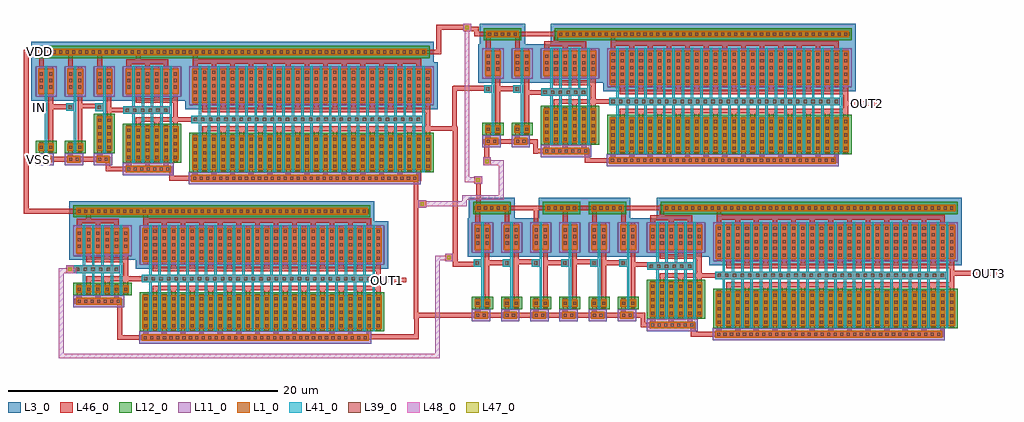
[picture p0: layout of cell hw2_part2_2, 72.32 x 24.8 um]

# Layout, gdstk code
from math import pi, radians
import gdstk
lib = gdstk.Library(unit=1e-6, precision=1e-09)
def R(c, l, rs):  # rectangles x0, y0, x1, y1
    for r in rs: c.add(gdstk.rectangle(r[:2], r[2:], *l))
def A(c, l, x, y, w, h, nx, ny, dx, dy):  # array of equal rectangles
    R(c, l, [(x+i*dx, y+j*dy, x+i*dx+w, y+j*dy+h) for i in range(nx) for j in range(ny)])
L1_0 = (1, 0)
L3_0 = (3, 0)
L11_0 = (11, 0)
L12_0 = (12, 0)
L39_0 = (39, 0)
L41_0 = (41, 0)
L46_0 = (46, 0)
L47_0 = (47, 0)
L48_0 = (48, 0)

via1 = lib.new_cell('VIA1')
R(via1, L46_0, [(-0.295,-0.295,0.275,0.275)])
R(via1, L47_0, [(-0.135,-0.135,0.115,0.115)])
R(via1, L48_0, [(-0.295,-0.295,0.275,0.275)])

nmos_body = lib.new_cell('nmos_body')
R(nmos_body, L1_0, [(-0.22,-0.185,0.26,0.315)])
R(nmos_body, L11_0, [(-0.42,-0.385,0.46,0.515)])
R(nmos_body, L39_0, [(-0.095,-0.05,0.135,0.18)])
R(nmos_body, L46_0, [(-0.348,-0.11,0.332,0.24)])

pmos_body = lib.new_cell('pmos_body')
R(pmos_body, L1_0, [(-0.305,-0.355,0.175,0.145)])
R(pmos_body, L3_0, [(-0.805,-0.855,0.675,0.645)])
R(pmos_body, L12_0, [(-0.505,-0.555,0.375,0.345)])
R(pmos_body, L39_0, [(-0.18,-0.22,0.05,0.01)])
R(pmos_body, L46_0, [(-0.433,-0.28,0.247,0.07)])

mental1_connect = lib.new_cell('mental1_connect')
R(mental1_connect, L46_0, [(0.875,-0.297,1.225,0.108), (-0.505,-0.292,-0.155,0.108), (-0.505,0.108,1.225,0.458)])

cont = lib.new_cell('CONT')
R(cont, L39_0, [(-0.12,-0.12,0.11,0.11)])
R(cont, L41_0, [(-0.29,-0.29,0.28,0.28)])
R(cont, L46_0, [(-0.29,-0.29,0.28,0.28)])

pmos_small = lib.new_cell('pmos_small')
R(pmos_small, L1_0, [(-0.57,-0.225,0.59,0.275)])
R(pmos_small, L3_0, [(-1.07,-0.725,1.09,0.775)])
R(pmos_small, L11_0, [(-0.77,-0.425,0.79,0.475)])
R(pmos_small, L39_0, [(-0.45,-0.075,-0.22,0.155), (0.24,-0.075,0.47,0.155)])
R(pmos_small, L41_0, [(-0.08,-1.49,0.1,0.475)])
R(pmos_small, L46_0, [(-0.51,-0.347,-0.16,0.428), (0.18,-0.342,0.53,0.423)])

pmos_1850n = lib.new_cell('pmos_1850n')
R(pmos_1850n, L1_0, [(-0.569,-0.995,0.591,0.855)])
R(pmos_1850n, L3_0, [(-1.069,-1.495,1.091,1.355)])
R(pmos_1850n, L11_0, [(-0.769,-1.215,0.791,1.055)])
A(pmos_1850n, L39_0, -0.449, -0.6, 0.23, 0.23, 1, 3, 0, 0.48)
A(pmos_1850n, L39_0, 0.241, -0.6, 0.23, 0.23, 1, 3, 0, 0.48)
R(pmos_1850n, L41_0, [(-0.079,-2.195,0.101,1.055)])
R(pmos_1850n, L46_0, [(-0.509,-1.08,-0.159,0.975), (0.181,-1.08,0.531,0.965)])

nmos_small = lib.new_cell('nmos_small')
R(nmos_small, L1_0, [(-3.8,0.175,-2.64,0.675)])
R(nmos_small, L12_0, [(-4,-0.045,-2.44,0.875)])
R(nmos_small, L39_0, [(-3.68,0.325,-3.45,0.555), (-2.99,0.325,-2.76,0.555)])
R(nmos_small, L41_0, [(-3.31,-1.025,-3.13,0.875)])
R(nmos_small, L46_0, [(-3.74,0.073,-3.39,0.808), (-3.05,0.073,-2.7,0.808)])

hw2_part2_2 = lib.new_cell('hw2_part2_2')
hw2_part2_2.add(gdstk.FlexPath([(-3.72,-11.995),(-3.72,-11.595)], 0.18, ends="flush", simple_path=True, layer=41, datatype=0))  # L41_0
hw2_part2_2.add(gdstk.FlexPath([(-11.58,0.895),(-11.58,1.295)], 0.18, ends="flush", simple_path=True, layer=41, datatype=0))  # L41_0
hw2_part2_2.add(gdstk.FlexPath([(-46.215,-12.235),(-46.215,-11.835)], 0.18, ends="flush", simple_path=True, layer=41, datatype=0))  # L41_0
hw2_part2_2.add(gdstk.FlexPath([(-10.8,-13.26),(-10.8,-11.68)], 0.18, ends="flush", simple_path=True, layer=41, datatype=0))  # L41_0
hw2_part2_2.add(gdstk.FlexPath([(-8.64,-13.26),(-8.64,-11.68)], 0.18, ends="flush", simple_path=True, layer=41, datatype=0))  # L41_0
hw2_part2_2.add(gdstk.FlexPath([(-17.28,-13.26),(-17.28,-11.68)], 0.18, ends="flush", simple_path=True, layer=41, datatype=0))  # L41_0
hw2_part2_2.add(gdstk.FlexPath([(-19.44,-13.26),(-19.44,-11.68)], 0.18, ends="flush", simple_path=True, layer=41, datatype=0))  # L41_0
hw2_part2_2.add(gdstk.FlexPath([(-16.5,-0.37),(-16.5,1.21)], 0.18, ends="flush", simple_path=True, layer=41, datatype=0))  # L41_0
hw2_part2_2.add(gdstk.FlexPath([(-18.66,-0.37),(-18.66,1.21)], 0.18, ends="flush", simple_path=True, layer=41, datatype=0))  # L41_0
hw2_part2_2.add(gdstk.FlexPath([(-12.96,-13.26),(-12.96,-11.68)], 0.18, ends="flush", simple_path=True, layer=41, datatype=0))  # L41_0
hw2_part2_2.add(gdstk.FlexPath([(-15.12,-13.26),(-15.12,-11.68)], 0.18, ends="flush", simple_path=True, layer=41, datatype=0))  # L41_0
hw2_part2_2.add(gdstk.FlexPath([(-49.62,-1.7),(-49.62,-0.12)], 0.18, ends="flush", simple_path=True, layer=41, datatype=0))  # L41_0
hw2_part2_2.add(gdstk.FlexPath([(-51.78,-1.7),(-51.78,-0.12)], 0.18, ends="flush", simple_path=True, layer=41, datatype=0))  # L41_0
hw2_part2_2.add(gdstk.FlexPath([(-42.54,-0.435),(-42.54,-0.035)], 0.18, ends="flush", simple_path=True, layer=41, datatype=0))  # L41_0
hw2_part2_2.add(gdstk.FlexPath([(-46.315,-14.319),(-46.315,-17.104),(-44.525,-17.104)], 0.35, ends="flush", simple_path=True, layer=46, datatype=0))  # L46_0
hw2_part2_2.add(gdstk.FlexPath([(-24.33,-15.455),(-24.33,-17.04),(-27.76,-17.04)], 0.35, ends="flush", simple_path=True, layer=46, datatype=0))  # L46_0
hw2_part2_2.add(gdstk.FlexPath([(-20.38,5.765),(-19.885,5.765),(-19.885,5.385),(-19.185,5.385)], 0.35, ends="flush", simple_path=True, layer=46, datatype=0))  # L46_0
hw2_part2_2.add(gdstk.FlexPath([(-8.34,-15.455),(-7.555,-15.455),(-7.555,-16.335)], 0.35, ends="flush", simple_path=True, layer=46, datatype=0))  # L46_0
hw2_part2_2.add(gdstk.FlexPath([(-21.505,-1.585),(-21.505,1.52)], 0.35, ends="flush", simple_path=True, layer=46, datatype=0))  # L46_0
hw2_part2_2.add(gdstk.FlexPath([(-23.515,-1.61),(-21.315,-1.61)], 0.35, ends="flush", simple_path=True, layer=46, datatype=0))  # L46_0
hw2_part2_2.add(gdstk.FlexPath([(-53.395,-7.745),(-52.27,-7.745)], 0.35, ends="flush", simple_path=True, layer=46, datatype=0))  # L46_0
hw2_part2_2.add(gdstk.FlexPath([(-53.24,-7.92),(-53.24,4.235)], 0.35, ends="flush", simple_path=True, layer=46, datatype=0))  # L46_0
hw2_part2_2.add(gdstk.FlexPath([(-52.6,-7.745),(-49.21,-7.745)], 0.35, ends="flush", simple_path=True, layer=46, datatype=0))  # L46_0
hw2_part2_2.add(gdstk.FlexPath([(-53.39,4.055),(-52.03,4.055)], 0.35, ends="flush", simple_path=True, layer=46, datatype=0))  # L46_0
hw2_part2_2.add(gdstk.FlexPath([(-15.69,-3.282),(-14.765,-3.282)], 0.35, ends="flush", simple_path=True, layer=46, datatype=0))  # L46_0
hw2_part2_2.add(gdstk.FlexPath([(-16.925,5.385),(-13.855,5.385)], 0.35, ends="flush", simple_path=True, layer=46, datatype=0))  # L46_0
hw2_part2_2.add(gdstk.FlexPath([(-8.655,-7.505),(-6.865,-7.505)], 0.35, ends="flush", simple_path=True, layer=46, datatype=0))  # L46_0
hw2_part2_2.add(gdstk.FlexPath([(-19.73,-7.5),(-19.73,-5.65)], 0.35, ends="flush", simple_path=True, layer=46, datatype=0))  # L46_0
hw2_part2_2.add(gdstk.FlexPath([(-22.85,5.89),(-20.675,5.89)], 0.35, ends="flush", simple_path=True, layer=46, datatype=0))  # L46_0
hw2_part2_2.add(gdstk.FlexPath([(-7.725,-16.172),(-6.96,-16.172)], 0.35, ends="flush", simple_path=True, layer=46, datatype=0))  # L46_0
hw2_part2_2.add(gdstk.FlexPath([(-12.82,-15.455),(-11.36,-15.455)], 0.35, ends="flush", simple_path=True, layer=46, datatype=0))  # L46_0
hw2_part2_2.add(gdstk.FlexPath([(-16.93,-15.455),(-15.49,-15.455)], 0.35, ends="flush", simple_path=True, layer=46, datatype=0))  # L46_0
hw2_part2_2.add(gdstk.FlexPath([(-24.535,-15.455),(-19.71,-15.455)], 0.35, ends="flush", simple_path=True, layer=46, datatype=0))  # L46_0
hw2_part2_2.add(gdstk.FlexPath([(-24.36,-15.7),(-24.36,-5.365)], 0.35, ends="flush", simple_path=True, layer=46, datatype=0))  # L46_0
hw2_part2_2.add(gdstk.FlexPath([(-6.965,-7.505),(-6.225,-7.505)], 0.35, ends="flush", simple_path=True, layer=46, datatype=0))  # L46_0
hw2_part2_2.add(gdstk.FlexPath([(-17.808,-7.505),(-8.458,-7.505)], 0.35, ends="flush", simple_path=True, layer=46, datatype=0))  # L46_0
hw2_part2_2.add(gdstk.FlexPath([(-27.16,-12.84),(-25.095,-12.84)], 0.35, ends="flush", simple_path=True, layer=46, datatype=0))  # L46_0
hw2_part2_2.add(gdstk.FlexPath([(-21.46,-1.515),(-21.46,-11.675),(-20.015,-11.675)], 0.35, ends="flush", simple_path=True, layer=46, datatype=0))  # L46_0
hw2_part2_2.add(gdstk.FlexPath([(-16.14,-2.565),(-15.505,-2.565),(-15.505,-3.495)], 0.35, ends="flush", simple_path=True, layer=46, datatype=0))  # L46_0
hw2_part2_2.add(gdstk.FlexPath([(-25.005,4.063),(-22.675,4.063),(-22.675,5.978)], 0.35, ends="flush", simple_path=True, layer=46, datatype=0))  # L46_0
hw2_part2_2.add(gdstk.FlexPath([(-3.82,-16.079),(-3.82,-16.864),(-2.03,-16.864)], 0.35, ends="flush", simple_path=True, layer=46, datatype=0))  # L46_0
hw2_part2_2.add(gdstk.FlexPath([(-11.68,-3.189),(-11.68,-3.974),(-9.89,-3.974)], 0.35, ends="flush", simple_path=True, layer=46, datatype=0))  # L46_0
hw2_part2_2.add(gdstk.FlexPath([(15.275,-12.34),(18.91,-12.34)], 0.35, ends="flush", simple_path=True, layer=46, datatype=0))  # L46_0
hw2_part2_2.add(gdstk.FlexPath([(-8.335,-11.695),(-6.87,-11.695)], 0.35, ends="flush", simple_path=True, layer=46, datatype=0))  # L46_0
hw2_part2_2.add(gdstk.FlexPath([(-12.7,-11.48),(-11.24,-11.48)], 0.35, ends="flush", simple_path=True, layer=46, datatype=0))  # L46_0
hw2_part2_2.add(gdstk.FlexPath([(-16.275,1.065),(-14.595,1.065)], 0.35, ends="flush", simple_path=True, layer=46, datatype=0))  # L46_0
hw2_part2_2.add(gdstk.FlexPath([(-21.565,1.37),(-19.05,1.37)], 0.35, ends="flush", simple_path=True, layer=46, datatype=0))  # L46_0
hw2_part2_2.add(gdstk.FlexPath([(-17.045,-11.48),(-15.7,-11.48)], 0.35, ends="flush", simple_path=True, layer=46, datatype=0))  # L46_0
hw2_part2_2.add(gdstk.FlexPath([(15.345,-13.102),(15.345,-11.852)], 0.35, ends="flush", simple_path=True, layer=46, datatype=0))  # L46_0
hw2_part2_2.add(gdstk.FlexPath([(-3.375,-13.005),(-3.375,-10.595)], 0.35, ends="flush", simple_path=True, layer=46, datatype=0))  # L46_0
hw2_part2_2.add(gdstk.FlexPath([(-6.135,-8.395),(-6.135,-7.257)], 0.35, ends="flush", simple_path=True, layer=46, datatype=0))  # L46_0
hw2_part2_2.add(gdstk.FlexPath([(-1.905,-8.395),(-1.905,-7.257)], 0.35, ends="flush", simple_path=True, layer=46, datatype=0))  # L46_0
hw2_part2_2.add(gdstk.FlexPath([(-3.39,-12.505),(-1.74,-12.505)], 0.35, ends="flush", simple_path=True, layer=46, datatype=0))  # L46_0
hw2_part2_2.add(gdstk.FlexPath([(-45.885,-12.745),(-44.235,-12.745)], 0.35, ends="flush", simple_path=True, layer=46, datatype=0))  # L46_0
hw2_part2_2.add(gdstk.FlexPath([(-44.4,-8.635),(-44.4,-7.497)], 0.35, ends="flush", simple_path=True, layer=46, datatype=0))  # L46_0
hw2_part2_2.add(gdstk.FlexPath([(-48.63,-8.635),(-48.63,-7.497)], 0.35, ends="flush", simple_path=True, layer=46, datatype=0))  # L46_0
hw2_part2_2.add(gdstk.FlexPath([(-9.765,4.495),(-9.765,5.633)], 0.35, ends="flush", simple_path=True, layer=46, datatype=0))  # L46_0
hw2_part2_2.add(gdstk.FlexPath([(-11.25,0.385),(-9.6,0.385)], 0.35, ends="flush", simple_path=True, layer=46, datatype=0))  # L46_0
hw2_part2_2.add(gdstk.FlexPath([(-45.87,-13.245),(-45.87,-10.835)], 0.35, ends="flush", simple_path=True, layer=46, datatype=0))  # L46_0
hw2_part2_2.add(gdstk.FlexPath([(-11.235,-0.115),(-11.235,2.295)], 0.35, ends="flush", simple_path=True, layer=46, datatype=0))  # L46_0
hw2_part2_2.add(gdstk.FlexPath([(-13.995,4.495),(-13.995,5.633)], 0.35, ends="flush", simple_path=True, layer=46, datatype=0))  # L46_0
hw2_part2_2.add(gdstk.FlexPath([(7.485,-0.212),(7.485,1.038)], 0.35, ends="flush", simple_path=True, layer=46, datatype=0))  # L46_0
hw2_part2_2.add(gdstk.FlexPath([(-10.455,-12.34),(-10.455,-10.575)], 0.35, ends="flush", simple_path=True, layer=46, datatype=0))  # L46_0
hw2_part2_2.add(gdstk.FlexPath([(-8.295,-12.34),(-8.295,-10.575)], 0.35, ends="flush", simple_path=True, layer=46, datatype=0))  # L46_0
hw2_part2_2.add(gdstk.FlexPath([(-10.475,-11.555),(-9.13,-11.555)], 0.35, ends="flush", simple_path=True, layer=46, datatype=0))  # L46_0
hw2_part2_2.add(gdstk.FlexPath([(-11.145,-15.635),(-11.145,-14.79)], 0.35, ends="flush", simple_path=True, layer=46, datatype=0))  # L46_0
hw2_part2_2.add(gdstk.FlexPath([(-8.985,-15.635),(-8.985,-14.79)], 0.35, ends="flush", simple_path=True, layer=46, datatype=0))  # L46_0
hw2_part2_2.add(gdstk.FlexPath([(-10.455,-15.455),(-9.235,-15.455)], 0.35, ends="flush", simple_path=True, layer=46, datatype=0))  # L46_0
hw2_part2_2.add(gdstk.FlexPath([(-10.455,-13.795),(-10.455,-12.03)], 0.35, ends="flush", simple_path=True, layer=46, datatype=0))  # L46_0
hw2_part2_2.add(gdstk.FlexPath([(-10.455,-14.34),(-10.455,-12.575)], 0.35, ends="flush", simple_path=True, layer=46, datatype=0))  # L46_0
hw2_part2_2.add(gdstk.FlexPath([(-8.295,-13.223),(-8.295,-11.458)], 0.35, ends="flush", simple_path=True, layer=46, datatype=0))  # L46_0
hw2_part2_2.add(gdstk.FlexPath([(-8.295,-14.293),(-8.295,-12.528)], 0.35, ends="flush", simple_path=True, layer=46, datatype=0))  # L46_0
hw2_part2_2.add(gdstk.FlexPath([(-11.145,-8.745),(-11.145,-7.575)], 0.35, ends="flush", simple_path=True, layer=46, datatype=0))  # L46_0
hw2_part2_2.add(gdstk.FlexPath([(-8.985,-8.745),(-8.985,-7.575)], 0.35, ends="flush", simple_path=True, layer=46, datatype=0))  # L46_0
hw2_part2_2.add(gdstk.FlexPath([(-17.625,-8.745),(-17.625,-7.575)], 0.35, ends="flush", simple_path=True, layer=46, datatype=0))  # L46_0
hw2_part2_2.add(gdstk.FlexPath([(-19.785,-8.745),(-19.785,-7.575)], 0.35, ends="flush", simple_path=True, layer=46, datatype=0))  # L46_0
hw2_part2_2.add(gdstk.FlexPath([(-16.935,-14.293),(-16.935,-12.528)], 0.35, ends="flush", simple_path=True, layer=46, datatype=0))  # L46_0
hw2_part2_2.add(gdstk.FlexPath([(-16.935,-13.223),(-16.935,-11.458)], 0.35, ends="flush", simple_path=True, layer=46, datatype=0))  # L46_0
hw2_part2_2.add(gdstk.FlexPath([(-19.095,-14.34),(-19.095,-12.575)], 0.35, ends="flush", simple_path=True, layer=46, datatype=0))  # L46_0
hw2_part2_2.add(gdstk.FlexPath([(-19.095,-13.795),(-19.095,-12.03)], 0.35, ends="flush", simple_path=True, layer=46, datatype=0))  # L46_0
hw2_part2_2.add(gdstk.FlexPath([(-19.095,-15.455),(-17.875,-15.455)], 0.35, ends="flush", simple_path=True, layer=46, datatype=0))  # L46_0
hw2_part2_2.add(gdstk.FlexPath([(-17.625,-15.635),(-17.625,-14.79)], 0.35, ends="flush", simple_path=True, layer=46, datatype=0))  # L46_0
hw2_part2_2.add(gdstk.FlexPath([(-19.785,-15.635),(-19.785,-14.79)], 0.35, ends="flush", simple_path=True, layer=46, datatype=0))  # L46_0
hw2_part2_2.add(gdstk.FlexPath([(-19.115,-11.555),(-17.77,-11.555)], 0.35, ends="flush", simple_path=True, layer=46, datatype=0))  # L46_0
hw2_part2_2.add(gdstk.FlexPath([(-16.935,-12.34),(-16.935,-10.575)], 0.35, ends="flush", simple_path=True, layer=46, datatype=0))  # L46_0
hw2_part2_2.add(gdstk.FlexPath([(-19.095,-12.34),(-19.095,-10.575)], 0.35, ends="flush", simple_path=True, layer=46, datatype=0))  # L46_0
hw2_part2_2.add(gdstk.FlexPath([(-16.845,4.145),(-16.845,5.315)], 0.35, ends="flush", simple_path=True, layer=46, datatype=0))  # L46_0
hw2_part2_2.add(gdstk.FlexPath([(-19.005,4.145),(-19.005,5.315)], 0.35, ends="flush", simple_path=True, layer=46, datatype=0))  # L46_0
hw2_part2_2.add(gdstk.FlexPath([(-16.155,-1.403),(-16.155,0.362)], 0.35, ends="flush", simple_path=True, layer=46, datatype=0))  # L46_0
hw2_part2_2.add(gdstk.FlexPath([(-16.155,-0.333),(-16.155,1.432)], 0.35, ends="flush", simple_path=True, layer=46, datatype=0))  # L46_0
hw2_part2_2.add(gdstk.FlexPath([(-18.315,-1.45),(-18.315,0.315)], 0.35, ends="flush", simple_path=True, layer=46, datatype=0))  # L46_0
hw2_part2_2.add(gdstk.FlexPath([(-18.315,-0.905),(-18.315,0.86)], 0.35, ends="flush", simple_path=True, layer=46, datatype=0))  # L46_0
hw2_part2_2.add(gdstk.FlexPath([(-18.315,-2.565),(-17.095,-2.565)], 0.35, ends="flush", simple_path=True, layer=46, datatype=0))  # L46_0
hw2_part2_2.add(gdstk.FlexPath([(-16.845,-2.745),(-16.845,-1.9)], 0.35, ends="flush", simple_path=True, layer=46, datatype=0))  # L46_0
hw2_part2_2.add(gdstk.FlexPath([(-19.005,-2.745),(-19.005,-1.9)], 0.35, ends="flush", simple_path=True, layer=46, datatype=0))  # L46_0
hw2_part2_2.add(gdstk.FlexPath([(-18.335,1.335),(-16.99,1.335)], 0.35, ends="flush", simple_path=True, layer=46, datatype=0))  # L46_0
hw2_part2_2.add(gdstk.FlexPath([(-16.155,0.55),(-16.155,2.315)], 0.35, ends="flush", simple_path=True, layer=46, datatype=0))  # L46_0
hw2_part2_2.add(gdstk.FlexPath([(-18.315,0.55),(-18.315,2.315)], 0.35, ends="flush", simple_path=True, layer=46, datatype=0))  # L46_0
hw2_part2_2.add(gdstk.FlexPath([(-13.305,-8.745),(-13.305,-7.575)], 0.35, ends="flush", simple_path=True, layer=46, datatype=0))  # L46_0
hw2_part2_2.add(gdstk.FlexPath([(-15.465,-8.745),(-15.465,-7.575)], 0.35, ends="flush", simple_path=True, layer=46, datatype=0))  # L46_0
hw2_part2_2.add(gdstk.FlexPath([(-12.615,-14.293),(-12.615,-12.528)], 0.35, ends="flush", simple_path=True, layer=46, datatype=0))  # L46_0
hw2_part2_2.add(gdstk.FlexPath([(-12.615,-13.223),(-12.615,-11.458)], 0.35, ends="flush", simple_path=True, layer=46, datatype=0))  # L46_0
hw2_part2_2.add(gdstk.FlexPath([(-14.775,-14.34),(-14.775,-12.575)], 0.35, ends="flush", simple_path=True, layer=46, datatype=0))  # L46_0
hw2_part2_2.add(gdstk.FlexPath([(-14.775,-13.795),(-14.775,-12.03)], 0.35, ends="flush", simple_path=True, layer=46, datatype=0))  # L46_0
hw2_part2_2.add(gdstk.FlexPath([(-14.775,-15.455),(-13.555,-15.455)], 0.35, ends="flush", simple_path=True, layer=46, datatype=0))  # L46_0
hw2_part2_2.add(gdstk.FlexPath([(-13.305,-15.635),(-13.305,-14.79)], 0.35, ends="flush", simple_path=True, layer=46, datatype=0))  # L46_0
hw2_part2_2.add(gdstk.FlexPath([(-15.465,-15.635),(-15.465,-14.79)], 0.35, ends="flush", simple_path=True, layer=46, datatype=0))  # L46_0
hw2_part2_2.add(gdstk.FlexPath([(-14.795,-11.555),(-13.45,-11.555)], 0.35, ends="flush", simple_path=True, layer=46, datatype=0))  # L46_0
hw2_part2_2.add(gdstk.FlexPath([(-12.615,-12.34),(-12.615,-10.575)], 0.35, ends="flush", simple_path=True, layer=46, datatype=0))  # L46_0
hw2_part2_2.add(gdstk.FlexPath([(-14.775,-12.34),(-14.775,-10.575)], 0.35, ends="flush", simple_path=True, layer=46, datatype=0))  # L46_0
hw2_part2_2.add(gdstk.FlexPath([(-19.12,-4.1),(-19.12,-2.615)], 0.35, ends="flush", simple_path=True, layer=46, datatype=0))  # L46_0
hw2_part2_2.add(gdstk.FlexPath([(7.485,0.25),(9.83,0.25)], 0.35, ends="flush", simple_path=True, layer=46, datatype=0))  # L46_0
hw2_part2_2.add(gdstk.FlexPath([(-49.275,-2.733),(-49.275,-0.968)], 0.35, ends="flush", simple_path=True, layer=46, datatype=0))  # L46_0
hw2_part2_2.add(gdstk.FlexPath([(-49.275,-1.663),(-49.275,0.102)], 0.35, ends="flush", simple_path=True, layer=46, datatype=0))  # L46_0
hw2_part2_2.add(gdstk.FlexPath([(-51.435,-2.78),(-51.435,-1.015)], 0.35, ends="flush", simple_path=True, layer=46, datatype=0))  # L46_0
hw2_part2_2.add(gdstk.FlexPath([(-51.435,-2.235),(-51.435,-0.47)], 0.35, ends="flush", simple_path=True, layer=46, datatype=0))  # L46_0
hw2_part2_2.add(gdstk.FlexPath([(-42.433,-5.304),(-40.818,-5.304)], 0.35, ends="flush", simple_path=True, layer=46, datatype=0))  # L46_0
hw2_part2_2.add(gdstk.FlexPath([(-42.485,-5.479),(-42.485,-4.446)], 0.35, ends="flush", simple_path=True, layer=46, datatype=0))  # L46_0
hw2_part2_2.add(gdstk.FlexPath([(-47.29,-4.612),(-45.8,-4.612)], 0.35, ends="flush", simple_path=True, layer=46, datatype=0))  # L46_0
hw2_part2_2.add(gdstk.FlexPath([(-47.183,-4.787),(-47.183,-3.72)], 0.35, ends="flush", simple_path=True, layer=46, datatype=0))  # L46_0
hw2_part2_2.add(gdstk.FlexPath([(-49.295,-3.895),(-48.085,-3.895)], 0.35, ends="flush", simple_path=True, layer=46, datatype=0))  # L46_0
hw2_part2_2.add(gdstk.FlexPath([(-51.435,-3.895),(-50.215,-3.895)], 0.35, ends="flush", simple_path=True, layer=46, datatype=0))  # L46_0
hw2_part2_2.add(gdstk.FlexPath([(-47.805,-4.075),(-47.805,-3.23)], 0.35, ends="flush", simple_path=True, layer=46, datatype=0))  # L46_0
hw2_part2_2.add(gdstk.FlexPath([(-49.965,-4.075),(-49.965,-3.23)], 0.35, ends="flush", simple_path=True, layer=46, datatype=0))  # L46_0
hw2_part2_2.add(gdstk.FlexPath([(-52.125,-4.075),(-52.125,-3.23)], 0.35, ends="flush", simple_path=True, layer=46, datatype=0))  # L46_0
hw2_part2_2.add(gdstk.FlexPath([(-27.15,-13.342),(-27.15,-12.092)], 0.35, ends="flush", simple_path=True, layer=46, datatype=0))  # L46_0
hw2_part2_2.add(gdstk.FlexPath([(-23.48,-1.58),(-23.48,-0.33)], 0.35, ends="flush", simple_path=True, layer=46, datatype=0))  # L46_0
hw2_part2_2.add(gdstk.FlexPath([(-42.17,-0.945),(-40.7,-0.945)], 0.35, ends="flush", simple_path=True, layer=46, datatype=0))  # L46_0
hw2_part2_2.add(gdstk.FlexPath([(-42.195,-1.445),(-42.195,0.965)], 0.35, ends="flush", simple_path=True, layer=46, datatype=0))  # L46_0
hw2_part2_2.add(gdstk.FlexPath([(-47.085,-0.245),(-45.925,-0.245)], 0.35, ends="flush", simple_path=True, layer=46, datatype=0))  # L46_0
hw2_part2_2.add(gdstk.FlexPath([(-49.295,0.055),(-48.02,0.055)], 0.35, ends="flush", simple_path=True, layer=46, datatype=0))  # L46_0
hw2_part2_2.add(gdstk.FlexPath([(-51.455,0.005),(-50.11,0.005)], 0.35, ends="flush", simple_path=True, layer=46, datatype=0))  # L46_0
hw2_part2_2.add(gdstk.FlexPath([(-47.115,-0.78),(-47.115,0.985)], 0.35, ends="flush", simple_path=True, layer=46, datatype=0))  # L46_0
hw2_part2_2.add(gdstk.FlexPath([(-49.275,-0.78),(-49.275,0.985)], 0.35, ends="flush", simple_path=True, layer=46, datatype=0))  # L46_0
hw2_part2_2.add(gdstk.FlexPath([(-51.435,-0.78),(-51.435,0.985)], 0.35, ends="flush", simple_path=True, layer=46, datatype=0))  # L46_0
hw2_part2_2.add(gdstk.FlexPath([(-40.725,2.84),(-40.725,4.01)], 0.35, ends="flush", simple_path=True, layer=46, datatype=0))  # L46_0
hw2_part2_2.add(gdstk.FlexPath([(-44.955,3.165),(-44.955,4.303)], 0.35, ends="flush", simple_path=True, layer=46, datatype=0))  # L46_0
hw2_part2_2.add(gdstk.FlexPath([(-47.805,2.84),(-47.805,4.01)], 0.35, ends="flush", simple_path=True, layer=46, datatype=0))  # L46_0
hw2_part2_2.add(gdstk.FlexPath([(-49.965,2.84),(-49.965,4.01)], 0.35, ends="flush", simple_path=True, layer=46, datatype=0))  # L46_0
hw2_part2_2.add(gdstk.FlexPath([(-52.125,2.84),(-52.125,4.01)], 0.35, ends="flush", simple_path=True, layer=46, datatype=0))  # L46_0
hw2_part2_2.add(gdstk.FlexPath([(-22.053,-11.2),(-22.773,-11.2),(-22.773,-18.47),(-50.653,-18.47),(-50.653,-12.155),(-49.543,-12.155)], 0.35, ends="flush", simple_path=True, layer=48, datatype=0))  # L48_0
hw2_part2_2.add(gdstk.FlexPath([(-23.695,-7.19),(-20.775,-7.19),(-20.775,-6.725),(-18.045,-6.725),(-18.045,-4.155),(-18.845,-4.155)], 0.35, ends="flush", simple_path=True, layer=48, datatype=0))  # L48_0
hw2_part2_2.add(gdstk.FlexPath([(-19.705,-5.405),(-20.585,-5.405),(-20.585,5.91)], 0.35, ends="flush", simple_path=True, layer=48, datatype=0))  # L48_0
hw2_part2_2.add(gdstk.Reference(via1, (-19.75,-5.41)))
hw2_part2_2.add(gdstk.Reference(via1, (-20.565,5.885)))
hw2_part2_2.add(gdstk.Reference(via1, (-50,-12.035)))
hw2_part2_2.add(gdstk.Reference(via1, (-21.91,-11.155)))
hw2_part2_2.add(gdstk.Reference(via1, (-19.105,-4.035)))
hw2_part2_2.add(gdstk.Reference(via1, (-23.89,-7.205)))
r = gdstk.Reference(nmos_body, (-49.337,-14.477)); r.repetition = gdstk.Repetition(7, 1, v1=(0.48,0), v2=(0,0.5)); hw2_part2_2.add(r)
r = gdstk.Reference(nmos_body, (-52.14,-3.96)); r.repetition = gdstk.Repetition(2, 1, v1=(0.48,0), v2=(0,0.5)); hw2_part2_2.add(r)
r = gdstk.Reference(nmos_body, (-49.98,-3.96)); r.repetition = gdstk.Repetition(2, 1, v1=(0.48,0), v2=(0,0.5)); hw2_part2_2.add(r)
r = gdstk.Reference(nmos_body, (-47.82,-3.96)); r.repetition = gdstk.Repetition(2, 1, v1=(0.48,0), v2=(0,0.5)); hw2_part2_2.add(r)
r = gdstk.Reference(nmos_body, (-45.662,-4.677)); r.repetition = gdstk.Repetition(7, 1, v1=(0.48,0), v2=(0,0.5)); hw2_part2_2.add(r)
r = gdstk.Reference(nmos_body, (-40.785,-5.369)); r.repetition = gdstk.Repetition(35, 1, v1=(0.48,0), v2=(0,0.5)); hw2_part2_2.add(r)
r = gdstk.Reference(nmos_body, (-44.46,-17.169)); r.repetition = gdstk.Repetition(35, 1, v1=(0.48,0), v2=(0,0.5)); hw2_part2_2.add(r)
r = gdstk.Reference(nmos_body, (-13.32,-15.52)); r.repetition = gdstk.Repetition(2, 1, v1=(0.48,0), v2=(0,0.5)); hw2_part2_2.add(r)
r = gdstk.Reference(nmos_body, (-15.48,-15.52)); r.repetition = gdstk.Repetition(2, 1, v1=(0.48,0), v2=(0,0.5)); hw2_part2_2.add(r)
r = gdstk.Reference(nmos_body, (-16.86,-2.63)); r.repetition = gdstk.Repetition(2, 1, v1=(0.48,0), v2=(0,0.5)); hw2_part2_2.add(r)
r = gdstk.Reference(nmos_body, (-19.02,-2.63)); r.repetition = gdstk.Repetition(2, 1, v1=(0.48,0), v2=(0,0.5)); hw2_part2_2.add(r)
r = gdstk.Reference(nmos_body, (-17.64,-15.52)); r.repetition = gdstk.Repetition(2, 1, v1=(0.48,0), v2=(0,0.5)); hw2_part2_2.add(r)
r = gdstk.Reference(nmos_body, (-19.8,-15.52)); r.repetition = gdstk.Repetition(2, 1, v1=(0.48,0), v2=(0,0.5)); hw2_part2_2.add(r)
r = gdstk.Reference(nmos_body, (-11.16,-15.52)); r.repetition = gdstk.Repetition(2, 1, v1=(0.48,0), v2=(0,0.5)); hw2_part2_2.add(r)
r = gdstk.Reference(nmos_body, (-9,-15.52)); r.repetition = gdstk.Repetition(2, 1, v1=(0.48,0), v2=(0,0.5)); hw2_part2_2.add(r)
r = gdstk.Reference(nmos_body, (-9.825,-4.039)); r.repetition = gdstk.Repetition(35, 1, v1=(0.48,0), v2=(0,0.5)); hw2_part2_2.add(r)
r = gdstk.Reference(nmos_body, (-14.702,-3.347)); r.repetition = gdstk.Repetition(7, 1, v1=(0.48,0), v2=(0,0.5)); hw2_part2_2.add(r)
r = gdstk.Reference(nmos_body, (-6.842,-16.237)); r.repetition = gdstk.Repetition(7, 1, v1=(0.48,0), v2=(0,0.5)); hw2_part2_2.add(r)
r = gdstk.Reference(nmos_body, (-1.965,-16.929)); r.repetition = gdstk.Repetition(35, 1, v1=(0.48,0), v2=(0,0.5)); hw2_part2_2.add(r)
r = gdstk.Reference(pmos_body, (-52.055,4.16)); r.repetition = gdstk.Repetition(60, 1, v1=(0.48,0), v2=(0,0.5)); hw2_part2_2.add(r)
r = gdstk.Reference(pmos_body, (-49.25,-7.64)); r.repetition = gdstk.Repetition(45, 1, v1=(0.48,0), v2=(0,0.5)); hw2_part2_2.add(r)
r = gdstk.Reference(pmos_body, (-14.475,-7.4)); r.repetition = gdstk.Repetition(5, 1, v1=(0.48,0), v2=(0,0.5)); hw2_part2_2.add(r)
r = gdstk.Reference(pmos_body, (-18.855,5.49)); r.repetition = gdstk.Repetition(5, 1, v1=(0.48,0), v2=(0,0.5)); hw2_part2_2.add(r)
r = gdstk.Reference(pmos_body, (-19.635,-7.4)); r.repetition = gdstk.Repetition(5, 1, v1=(0.48,0), v2=(0,0.5)); hw2_part2_2.add(r)
r = gdstk.Reference(pmos_body, (-11.075,-7.4)); r.repetition = gdstk.Repetition(5, 1, v1=(0.48,0), v2=(0,0.5)); hw2_part2_2.add(r)
r = gdstk.Reference(pmos_body, (-13.575,5.49)); r.repetition = gdstk.Repetition(45, 1, v1=(0.48,0), v2=(0,0.5)); hw2_part2_2.add(r)
r = gdstk.Reference(pmos_body, (-5.715,-7.4)); r.repetition = gdstk.Repetition(45, 1, v1=(0.48,0), v2=(0,0.5)); hw2_part2_2.add(r)
r = gdstk.Reference(mental1_connect, (-46.89,-14.129), rotation=pi); r.repetition = gdstk.Repetition(2, 1, v1=(-1.38,0), v2=(0,-0.75)); hw2_part2_2.add(r)
r = gdstk.Reference(mental1_connect, (-23.805,0.046), rotation=pi); r.repetition = gdstk.Repetition(12, 1, v1=(-1.38,0), v2=(0,-0.75)); hw2_part2_2.add(r)
r = gdstk.Reference(mental1_connect, (-44.625,-1.228)); r.repetition = gdstk.Repetition(2, 1, v1=(1.38,0), v2=(0,0.75)); hw2_part2_2.add(r)
r = gdstk.Reference(mental1_connect, (-42.525,0.738), rotation=pi); r.repetition = gdstk.Repetition(2, 1, v1=(-1.38,0), v2=(0,-0.75)); hw2_part2_2.add(r)
r = gdstk.Reference(mental1_connect, (-45.315,3.057)); r.repetition = gdstk.Repetition(2, 1, v1=(1.38,0), v2=(0,0.75)); hw2_part2_2.add(r)
r = gdstk.Reference(mental1_connect, (-43.215,-4.329), rotation=pi); r.repetition = gdstk.Repetition(2, 1, v1=(-1.38,0), v2=(0,-0.75)); hw2_part2_2.add(r)
r = gdstk.Reference(mental1_connect, (-40.395,3.09)); r.repetition = gdstk.Repetition(12, 1, v1=(1.38,0), v2=(0,0.75)); hw2_part2_2.add(r)
r = gdstk.Reference(mental1_connect, (-24.495,-5.021), rotation=pi); r.repetition = gdstk.Repetition(12, 1, v1=(-1.38,0), v2=(0,-0.75)); hw2_part2_2.add(r)
r = gdstk.Reference(mental1_connect, (-39.705,-1.92)); r.repetition = gdstk.Repetition(12, 1, v1=(1.38,0), v2=(0,0.75)); hw2_part2_2.add(r)
r = gdstk.Reference(mental1_connect, (-44.07,-8.71)); r.repetition = gdstk.Repetition(12, 1, v1=(1.38,0), v2=(0,0.75)); hw2_part2_2.add(r)
r = gdstk.Reference(mental1_connect, (-27.48,-11.749), rotation=pi); r.repetition = gdstk.Repetition(12, 1, v1=(-1.38,0), v2=(0,-0.75)); hw2_part2_2.add(r)
r = gdstk.Reference(mental1_connect, (-28.17,-16.821), rotation=pi); r.repetition = gdstk.Repetition(12, 1, v1=(-1.38,0), v2=(0,-0.75)); hw2_part2_2.add(r)
r = gdstk.Reference(mental1_connect, (-43.38,-13.72)); r.repetition = gdstk.Repetition(12, 1, v1=(1.38,0), v2=(0,0.75)); hw2_part2_2.add(r)
r = gdstk.Reference(mental1_connect, (-13.665,0.102)); r.repetition = gdstk.Repetition(2, 1, v1=(1.38,0), v2=(0,0.75)); hw2_part2_2.add(r)
r = gdstk.Reference(mental1_connect, (-48.3,-13.028)); r.repetition = gdstk.Repetition(2, 1, v1=(1.38,0), v2=(0,0.75)); hw2_part2_2.add(r)
r = gdstk.Reference(mental1_connect, (-46.2,-11.062), rotation=pi); r.repetition = gdstk.Repetition(2, 1, v1=(-1.38,0), v2=(0,-0.75)); hw2_part2_2.add(r)
r = gdstk.Reference(mental1_connect, (-48.99,-8.743)); r.repetition = gdstk.Repetition(2, 1, v1=(1.38,0), v2=(0,0.75)); hw2_part2_2.add(r)
r = gdstk.Reference(mental1_connect, (-9.435,4.42)); r.repetition = gdstk.Repetition(12, 1, v1=(1.38,0), v2=(0,0.75)); hw2_part2_2.add(r)
r = gdstk.Reference(mental1_connect, (6.465,-3.691), rotation=pi); r.repetition = gdstk.Repetition(12, 1, v1=(-1.38,0), v2=(0,-0.75)); hw2_part2_2.add(r)
r = gdstk.Reference(mental1_connect, (-8.745,-0.59)); r.repetition = gdstk.Repetition(12, 1, v1=(1.38,0), v2=(0,0.75)); hw2_part2_2.add(r)
r = gdstk.Reference(mental1_connect, (7.155,1.376), rotation=pi); r.repetition = gdstk.Repetition(12, 1, v1=(-1.38,0), v2=(0,-0.75)); hw2_part2_2.add(r)
r = gdstk.Reference(mental1_connect, (-11.565,2.068), rotation=pi); r.repetition = gdstk.Repetition(2, 1, v1=(-1.38,0), v2=(0,-0.75)); hw2_part2_2.add(r)
r = gdstk.Reference(mental1_connect, (-14.355,4.387)); r.repetition = gdstk.Repetition(2, 1, v1=(1.38,0), v2=(0,0.75)); hw2_part2_2.add(r)
r = gdstk.Reference(mental1_connect, (-12.255,-2.999), rotation=pi); r.repetition = gdstk.Repetition(2, 1, v1=(-1.38,0), v2=(0,-0.75)); hw2_part2_2.add(r)
r = gdstk.Reference(mental1_connect, (-4.395,-15.889), rotation=pi); r.repetition = gdstk.Repetition(2, 1, v1=(-1.38,0), v2=(0,-0.75)); hw2_part2_2.add(r)
r = gdstk.Reference(mental1_connect, (-6.495,-8.503)); r.repetition = gdstk.Repetition(2, 1, v1=(1.38,0), v2=(0,0.75)); hw2_part2_2.add(r)
r = gdstk.Reference(mental1_connect, (-3.705,-10.822), rotation=pi); r.repetition = gdstk.Repetition(2, 1, v1=(-1.38,0), v2=(0,-0.75)); hw2_part2_2.add(r)
r = gdstk.Reference(mental1_connect, (-5.805,-12.788)); r.repetition = gdstk.Repetition(2, 1, v1=(1.38,0), v2=(0,0.75)); hw2_part2_2.add(r)
r = gdstk.Reference(mental1_connect, (15.015,-11.514), rotation=pi); r.repetition = gdstk.Repetition(12, 1, v1=(-1.38,0), v2=(0,-0.75)); hw2_part2_2.add(r)
r = gdstk.Reference(mental1_connect, (-0.885,-13.48)); r.repetition = gdstk.Repetition(12, 1, v1=(1.38,0), v2=(0,0.75)); hw2_part2_2.add(r)
r = gdstk.Reference(mental1_connect, (14.325,-16.581), rotation=pi); r.repetition = gdstk.Repetition(12, 1, v1=(-1.38,0), v2=(0,-0.75)); hw2_part2_2.add(r)
r = gdstk.Reference(mental1_connect, (-1.575,-8.47)); r.repetition = gdstk.Repetition(12, 1, v1=(1.38,0), v2=(0,0.75)); hw2_part2_2.add(r)
r = gdstk.Reference(cont, (-40.72,-0.932)); r.repetition = gdstk.Repetition(30, 1, v1=(0.57,0), v2=(0,0.57)); hw2_part2_2.add(r)
r = gdstk.Reference(cont, (-45.76,-0.24)); r.repetition = gdstk.Repetition(6, 1, v1=(0.57,0), v2=(0,0.57)); hw2_part2_2.add(r)
r = gdstk.Reference(cont, (-44.395,-12.732)); r.repetition = gdstk.Repetition(30, 1, v1=(0.57,0), v2=(0,0.57)); hw2_part2_2.add(r)
r = gdstk.Reference(cont, (-49.435,-12.04)); r.repetition = gdstk.Repetition(6, 1, v1=(0.57,0), v2=(0,0.57)); hw2_part2_2.add(r)
r = gdstk.Reference(cont, (-9.76,0.398)); r.repetition = gdstk.Repetition(30, 1, v1=(0.57,0), v2=(0,0.57)); hw2_part2_2.add(r)
r = gdstk.Reference(cont, (-14.8,1.09)); r.repetition = gdstk.Repetition(6, 1, v1=(0.57,0), v2=(0,0.57)); hw2_part2_2.add(r)
r = gdstk.Reference(cont, (-6.94,-11.8)); r.repetition = gdstk.Repetition(6, 1, v1=(0.57,0), v2=(0,0.57)); hw2_part2_2.add(r)
r = gdstk.Reference(cont, (-1.9,-12.492)); r.repetition = gdstk.Repetition(30, 1, v1=(0.57,0), v2=(0,0.57)); hw2_part2_2.add(r)
hw2_part2_2.add(gdstk.Reference(cont, (-9.01,-11.57)))
hw2_part2_2.add(gdstk.Reference(cont, (-11.17,-11.57)))
hw2_part2_2.add(gdstk.Reference(cont, (-19.81,-11.57)))
hw2_part2_2.add(gdstk.Reference(cont, (-17.65,-11.57)))
hw2_part2_2.add(gdstk.Reference(cont, (-19.03,1.32)))
hw2_part2_2.add(gdstk.Reference(cont, (-16.87,1.32)))
hw2_part2_2.add(gdstk.Reference(cont, (-15.49,-11.57)))
hw2_part2_2.add(gdstk.Reference(cont, (-13.33,-11.57)))
hw2_part2_2.add(gdstk.Reference(cont, (-52.15,-0.01)))
hw2_part2_2.add(gdstk.Reference(cont, (-49.99,-0.01)))
hw2_part2_2.add(gdstk.Reference(cont, (-47.83,-0.03)))
r = gdstk.Reference(pmos_small, (-40.39,0.53)); r.repetition = gdstk.Repetition(25, 5, v1=(0.69,0), v2=(0,0.5)); hw2_part2_2.add(r)
r = gdstk.Reference(pmos_small, (-44.065,-11.27)); r.repetition = gdstk.Repetition(25, 5, v1=(0.69,0), v2=(0,0.5)); hw2_part2_2.add(r)
r = gdstk.Reference(pmos_small, (-9.43,1.86)); r.repetition = gdstk.Repetition(25, 5, v1=(0.69,0), v2=(0,0.5)); hw2_part2_2.add(r)
r = gdstk.Reference(pmos_small, (-1.57,-11.03)); r.repetition = gdstk.Repetition(25, 5, v1=(0.69,0), v2=(0,0.5)); hw2_part2_2.add(r)
r = gdstk.Reference(pmos_1850n, (-45.311,1.95)); r.repetition = gdstk.Repetition(5, 1, v1=(0.69,0), v2=(0,1.85)); hw2_part2_2.add(r)
r = gdstk.Reference(pmos_1850n, (-48.986,-9.85)); r.repetition = gdstk.Repetition(5, 1, v1=(0.69,0), v2=(0,1.85)); hw2_part2_2.add(r)
r = gdstk.Reference(pmos_1850n, (-14.351,3.28)); r.repetition = gdstk.Repetition(5, 1, v1=(0.69,0), v2=(0,1.85)); hw2_part2_2.add(r)
r = gdstk.Reference(pmos_1850n, (-6.491,-9.61)); r.repetition = gdstk.Repetition(5, 1, v1=(0.69,0), v2=(0,1.85)); hw2_part2_2.add(r)
hw2_part2_2.add(gdstk.Reference(pmos_1850n, (-10.811,-9.61)))
hw2_part2_2.add(gdstk.Reference(pmos_1850n, (-8.651,-9.61)))
hw2_part2_2.add(gdstk.Reference(pmos_1850n, (-17.291,-9.61)))
hw2_part2_2.add(gdstk.Reference(pmos_1850n, (-19.451,-9.61)))
hw2_part2_2.add(gdstk.Reference(pmos_1850n, (-16.511,3.28)))
hw2_part2_2.add(gdstk.Reference(pmos_1850n, (-18.671,3.28)))
hw2_part2_2.add(gdstk.Reference(pmos_1850n, (-12.971,-9.61)))
hw2_part2_2.add(gdstk.Reference(pmos_1850n, (-15.131,-9.61)))
hw2_part2_2.add(gdstk.Reference(pmos_1850n, (-49.631,1.95)))
hw2_part2_2.add(gdstk.Reference(pmos_1850n, (-47.471,1.95)))
hw2_part2_2.add(gdstk.Reference(pmos_1850n, (-51.791,1.95)))
r = gdstk.Reference(nmos_small, (-49.435,-13.087), rotation=pi); r.repetition = gdstk.Repetition(5, 1, v1=(-0.69,0), v2=(0,-0.5)); hw2_part2_2.add(r)
r = gdstk.Reference(nmos_small, (-27.04,-1.979), rotation=pi); r.repetition = gdstk.Repetition(25, 5, v1=(-0.69,0), v2=(0,-0.5)); hw2_part2_2.add(r)
r = gdstk.Reference(nmos_small, (-45.76,-1.287), rotation=pi); r.repetition = gdstk.Repetition(5, 5, v1=(-0.69,0), v2=(0,-0.5)); hw2_part2_2.add(r)
r = gdstk.Reference(nmos_small, (-50.68,-0.57), rotation=pi); r.repetition = gdstk.Repetition(1, 5, v1=(-0.69,0), v2=(0,-0.5)); hw2_part2_2.add(r)
r = gdstk.Reference(nmos_small, (-55,-2.57), rotation=pi); r.repetition = gdstk.Repetition(1, 1, v1=(-0.69,0), v2=(0,-0.5)); hw2_part2_2.add(r)
r = gdstk.Reference(nmos_small, (-52.84,-2.57), rotation=pi); r.repetition = gdstk.Repetition(1, 1, v1=(-0.69,0), v2=(0,-0.5)); hw2_part2_2.add(r)
r = gdstk.Reference(nmos_small, (-30.715,-13.779), rotation=pi); r.repetition = gdstk.Repetition(25, 5, v1=(-0.69,0), v2=(0,-0.5)); hw2_part2_2.add(r)
r = gdstk.Reference(nmos_small, (-16.18,-14.13), rotation=pi); r.repetition = gdstk.Repetition(1, 1, v1=(-0.69,0), v2=(0,-0.5)); hw2_part2_2.add(r)
r = gdstk.Reference(nmos_small, (-18.34,-14.13), rotation=pi); r.repetition = gdstk.Repetition(1, 1, v1=(-0.69,0), v2=(0,-0.5)); hw2_part2_2.add(r)
r = gdstk.Reference(nmos_small, (-19.72,-1.24), rotation=pi); r.repetition = gdstk.Repetition(1, 1, v1=(-0.69,0), v2=(0,-0.5)); hw2_part2_2.add(r)
r = gdstk.Reference(nmos_small, (-21.88,-1.24), rotation=pi); r.repetition = gdstk.Repetition(1, 1, v1=(-0.69,0), v2=(0,-0.5)); hw2_part2_2.add(r)
r = gdstk.Reference(nmos_small, (-20.5,-14.13), rotation=pi); r.repetition = gdstk.Repetition(1, 1, v1=(-0.69,0), v2=(0,-0.5)); hw2_part2_2.add(r)
r = gdstk.Reference(nmos_small, (-22.66,-14.13), rotation=pi); r.repetition = gdstk.Repetition(1, 1, v1=(-0.69,0), v2=(0,-0.5)); hw2_part2_2.add(r)
r = gdstk.Reference(nmos_small, (-14.02,-14.13), rotation=pi); r.repetition = gdstk.Repetition(1, 1, v1=(-0.69,0), v2=(0,-0.5)); hw2_part2_2.add(r)
r = gdstk.Reference(nmos_small, (-11.86,-14.13), rotation=pi); r.repetition = gdstk.Repetition(1, 1, v1=(-0.69,0), v2=(0,-0.5)); hw2_part2_2.add(r)
r = gdstk.Reference(nmos_small, (3.92,-0.649), rotation=pi); r.repetition = gdstk.Repetition(25, 5, v1=(-0.69,0), v2=(0,-0.5)); hw2_part2_2.add(r)
r = gdstk.Reference(nmos_small, (-14.8,0.043), rotation=pi); r.repetition = gdstk.Repetition(5, 5, v1=(-0.69,0), v2=(0,-0.5)); hw2_part2_2.add(r)
r = gdstk.Reference(nmos_small, (-6.94,-12.847), rotation=pi); r.repetition = gdstk.Repetition(5, 5, v1=(-0.69,0), v2=(0,-0.5)); hw2_part2_2.add(r)
r = gdstk.Reference(nmos_small, (11.78,-13.539), rotation=pi); r.repetition = gdstk.Repetition(25, 5, v1=(-0.69,0), v2=(0,-0.5)); hw2_part2_2.add(r)
hw2_part2_2.add(gdstk.Label('OUT3', (18.13,-12.385), layer=101, texttype=0))
hw2_part2_2.add(gdstk.Label('OUT2', (9.12,0.27), layer=101, texttype=0))
hw2_part2_2.add(gdstk.Label('OUT1', (-26.5,-12.88), layer=101, texttype=0))
hw2_part2_2.add(gdstk.Label('IN', (-52.265,-0.07), layer=101, texttype=0))
hw2_part2_2.add(gdstk.Label('VSS', (-52.32,-3.905), layer=101, texttype=0))
hw2_part2_2.add(gdstk.Label('VDD', (-52.265,4.06), layer=101, texttype=0))

lib.write_gds('hw2_part2_2.gds')
